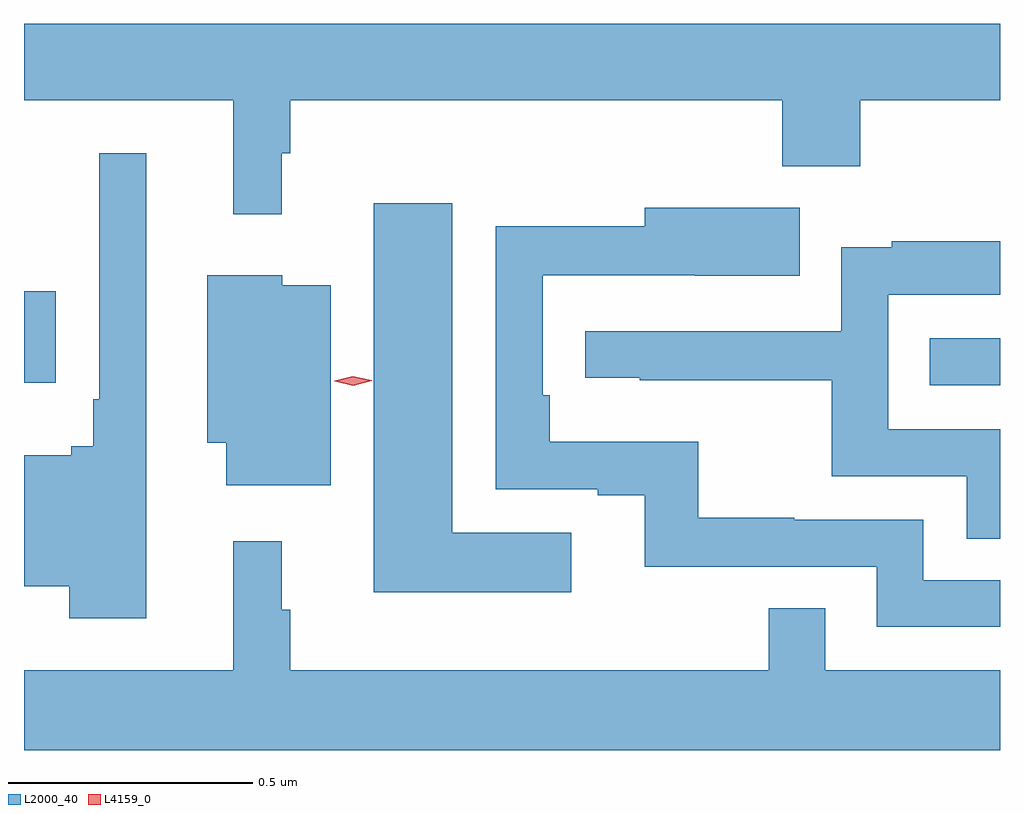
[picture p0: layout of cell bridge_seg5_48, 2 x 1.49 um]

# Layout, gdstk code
import gdstk
lib = gdstk.Library(unit=1e-6, precision=1e-09)
def R(c, l, rs):  # rectangles x0, y0, x1, y1
    for r in rs: c.add(gdstk.rectangle(r[:2], r[2:], *l))
def P(c, l, *ps):  # polygons
    for p in ps: c.add(gdstk.Polygon(p, *l))
L2000_40 = (2000, 40)
L4159_0 = (4159, 0)

bridge_seg5_48 = lib.new_cell('bridge_seg5_48')
R(bridge_seg5_48, L2000_40, [(853.363,869.496,853.507,869.592), (851.507,869.501,851.572,869.689)])
P(bridge_seg5_48, L2000_40, [(852.035,869.972),(852.053,869.972),(852.053,870.08),(853.061,870.08),(853.061,869.945),(853.221,869.945),(853.221,870.08),(853.507,870.08),(853.507,870.237),(851.507,870.237),(851.507,870.08),(851.936,870.08),(851.936,869.847),(852.035,869.847)],
  [(851.758,869.267),(851.757,869.267),(851.757,869.971),(851.661,869.971),(851.661,869.467),(851.649,869.467),(851.649,869.371),(851.604,869.371),(851.604,869.353),(851.507,869.353),(851.507,869.084),(851.6,869.084),(851.6,869.019),(851.758,869.019)],
  [(852.628,869.194),(852.385,869.194),(852.385,869.869),(852.224,869.869),(852.224,869.072),(852.628,869.072)],
  [(853.507,869.097),(853.35,869.097),(853.35,869.22),(853.085,869.22),(853.085,869.225),(852.889,869.225),(852.889,869.38),(852.584,869.38),(852.584,869.476),(852.57,869.476),(852.57,869.721),(852.883,869.721),(852.883,869.72),(853.097,869.72),(853.097,869.86),(852.779,869.86),(852.779,869.822),(852.474,869.822),(852.474,869.283),(852.683,869.283),(852.683,869.271),(852.779,869.271),(852.779,869.124),(853.254,869.124),(853.254,869.001),(853.507,869.001)],
  [(853.507,869.406),(853.278,869.406),(853.278,869.682),(853.507,869.682),(853.507,869.791),(853.285,869.791),(853.285,869.779),(853.182,869.779),(853.182,869.607),(852.657,869.607),(852.657,869.511),(852.769,869.511),(852.769,869.506),(853.162,869.506),(853.162,869.31),(853.439,869.31),(853.439,869.182),(853.507,869.182)],
  [(852.136,869.701),(852.036,869.701),(852.036,869.722),(851.882,869.722),(851.882,869.378),(851.921,869.378),(851.921,869.291),(852.136,869.291)],
  [(853.507,868.912),(853.149,868.912),(853.149,869.039),(853.033,869.039),(853.033,868.912),(852.053,868.912),(852.053,869.036),(852.035,869.036),(852.035,869.176),(851.936,869.176),(851.936,868.912),(851.507,868.912),(851.507,868.748),(853.507,868.748)])
P(bridge_seg5_48, L4159_0, [(852.182,869.495),(852.144,869.504),(852.143,869.505),(852.144,869.505),(852.181,869.515),(852.22,869.506),(852.22,869.506),(852.22,869.505)])

lib.write_gds('bridge_seg5_48.gds')
